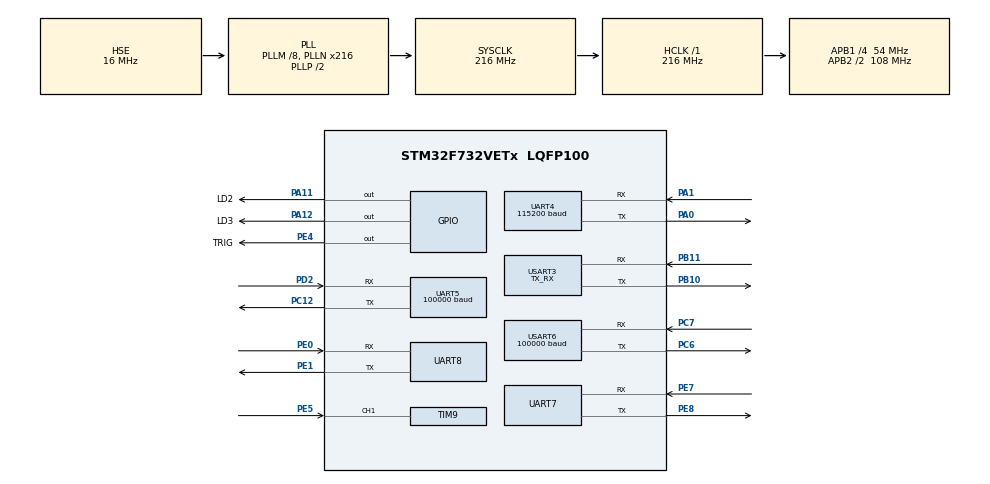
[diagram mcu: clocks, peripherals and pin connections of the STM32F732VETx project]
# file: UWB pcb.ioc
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Dma.Request0=USART6_RX
Dma.Request1=UART7_RX
Dma.Request2=UART8_RX
Dma.UART7_RX.1.Direction=DMA_PERIPH_TO_MEMORY
Dma.UART7_RX.1.FIFOMode=DMA_FIFOMODE_DISABLE
Dma.UART7_RX.1.Instance=DMA1_Stream3
Dma.UART7_RX.1.MemDataAlignment=DMA_MDATAALIGN_BYTE
Dma.UART7_RX.1.MemInc=DMA_MINC_ENABLE
Dma.UART7_RX.1.Mode=DMA_NORMAL
Dma.UART7_RX.1.PeriphDataAlignment=DMA_PDATAALIGN_BYTE
Dma.UART7_RX.1.PeriphInc=DMA_PINC_DISABLE
Dma.UART7_RX.1.Priority=DMA_PRIORITY_VERY_HIGH
Dma.UART8_RX.2.Direction=DMA_PERIPH_TO_MEMORY
Dma.UART8_RX.2.FIFOMode=DMA_FIFOMODE_DISABLE
Dma.UART8_RX.2.Instance=DMA1_Stream6
Dma.UART8_RX.2.MemDataAlignment=DMA_MDATAALIGN_BYTE
Dma.UART8_RX.2.MemInc=DMA_MINC_ENABLE
Dma.UART8_RX.2.Mode=DMA_NORMAL
Dma.UART8_RX.2.PeriphDataAlignment=DMA_PDATAALIGN_BYTE
Dma.UART8_RX.2.PeriphInc=DMA_PINC_DISABLE
Dma.UART8_RX.2.Priority=DMA_PRIORITY_VERY_HIGH
Dma.USART6_RX.0.Direction=DMA_PERIPH_TO_MEMORY
Dma.USART6_RX.0.FIFOMode=DMA_FIFOMODE_DISABLE
Dma.USART6_RX.0.Instance=DMA2_Stream1
Dma.USART6_RX.0.MemDataAlignment=DMA_MDATAALIGN_BYTE
Dma.USART6_RX.0.MemInc=DMA_MINC_ENABLE
Dma.USART6_RX.0.Mode=DMA_NORMAL
Dma.USART6_RX.0.PeriphDataAlignment=DMA_PDATAALIGN_BYTE
Dma.USART6_RX.0.PeriphInc=DMA_PINC_DISABLE
Dma.USART6_RX.0.Priority=DMA_PRIORITY_HIGH
Mcu.Family=STM32F7
Mcu.Name=STM32F732VETx
Mcu.Package=LQFP100
NVIC.DMA1_Stream3_IRQn=true\:0\:0\:false\:false\:true\:false\:true
NVIC.DMA1_Stream6_IRQn=true\:0\:0\:false\:false\:true\:false\:true
NVIC.DMA2_Stream1_IRQn=true\:0\:0\:false\:false\:true\:false\:true
NVIC.PriorityGroup=NVIC_PRIORITYGROUP_4
NVIC.TIM1_BRK_TIM9_IRQn=true\:0\:0\:false\:false\:true\:true\:true
NVIC.TIM3_IRQn=true\:0\:0\:false\:false\:true\:true\:true
NVIC.TIM4_IRQn=true\:0\:0\:false\:false\:true\:true\:true
NVIC.TIM5_IRQn=true\:0\:0\:false\:false\:true\:true\:true
NVIC.UART5_IRQn=true\:0\:0\:false\:false\:true\:true\:true
NVIC.UART7_IRQn=true\:0\:0\:false\:false\:true\:true\:true
NVIC.UART8_IRQn=true\:0\:0\:false\:false\:true\:true\:true
NVIC.USART6_IRQn=true\:0\:0\:false\:false\:true\:true\:true
PA0-WKUP.Mode=Asynchronous
PA0-WKUP.Signal=UART4_TX
PA1.Mode=Asynchronous
PA1.Signal=UART4_RX
PA11.GPIO_Label=LD2
PA11.Signal=GPIO_Output
PA12.GPIO_Label=LD3
PA12.Signal=GPIO_Output
PA13.Mode=Trace_Asynchronous_SW
PA13.Signal=SYS_JTMS-SWDIO
PA14.Mode=Trace_Asynchronous_SW
PA14.Signal=SYS_JTCK-SWCLK
PB10.Mode=Asynchronous
PB10.Signal=USART3_TX
PB11.Mode=Asynchronous
PB11.Signal=USART3_RX
PB3.Mode=Trace_Asynchronous_SW
PB3.Signal=SYS_JTDO-SWO
PC12.Mode=Asynchronous
PC12.Signal=UART5_TX
PC6.Mode=Asynchronous
PC6.Signal=USART6_TX
PC7.Mode=Asynchronous
PC7.Signal=USART6_RX
PD2.Mode=Asynchronous
PD2.Signal=UART5_RX
PE0.Mode=Asynchronous
PE0.Signal=UART8_RX
PE1.Mode=Asynchronous
PE1.Signal=UART8_TX
PE4.GPIO_Label=TRIG
PE4.Signal=GPIO_Output
PE5.Signal=S_TIM9_CH1
PE7.Mode=Asynchronous
PE7.Signal=UART7_RX
PE8.Mode=Asynchronous
PE8.Signal=UART7_TX
PH0-OSC_IN.Mode=HSE-External-Oscillator
PH0-OSC_IN.Signal=RCC_OSC_IN
PH1-OSC_OUT.Mode=HSE-External-Oscillator
PH1-OSC_OUT.Signal=RCC_OSC_OUT
ProjectManager.HeapSize=0x200
ProjectManager.StackSize=0x400
ProjectManager.TargetToolchain=STM32CubeIDE
RCC.AHBFreq_Value=216000000
RCC.APB1CLKDivider=RCC_HCLK_DIV4
RCC.APB1Freq_Value=54000000
RCC.APB1TimFreq_Value=108000000
RCC.APB2CLKDivider=RCC_HCLK_DIV2
RCC.APB2Freq_Value=108000000
RCC.APB2TimFreq_Value=216000000
RCC.CortexFreq_Value=216000000
RCC.HCLKFreq_Value=216000000
RCC.HSE_VALUE=16000000
RCC.HSI_VALUE=16000000
RCC.LSE_VALUE=32768
RCC.PLLM=8
RCC.PLLN=216
RCC.PLLSourceVirtual=RCC_PLLSOURCE_HSE
RCC.SYSCLKFreq_VALUE=216000000
RCC.SYSCLKSource=RCC_SYSCLKSOURCE_PLLCLK
RCC.USBFreq_Value=216000000
RCC.VCOOutputFreq_Value=432000000
SH.S_TIM9_CH1.0=TIM9_CH1,Input_Capture1_from_TI1
TIM3.ClockDivision=TIM_CLOCKDIVISION_DIV2
TIM3.Period=2000-1
TIM3.Prescaler=54000-1
TIM3.TIM_MasterOutputTrigger=TIM_TRGO_UPDATE
TIM4.ClockDivision=TIM_CLOCKDIVISION_DIV2
TIM4.Period=18-1
TIM4.Prescaler=54000-1
TIM4.TIM_MasterOutputTrigger=TIM_TRGO_UPDATE
TIM5.ClockDivision=TIM_CLOCKDIVISION_DIV2
TIM5.Period=200-1
TIM5.Prescaler=54000-1
TIM5.TIM_MasterOutputTrigger=TIM_TRGO_UPDATE
TIM8.Period=0
TIM8.Prescaler=216-1
TIM9.Channel-Input_Capture1_from_TI1=TIM_CHANNEL_1
TIM9.ICFilter_CH1=4
TIM9.ICPolarity_CH1=TIM_INPUTCHANNELPOLARITY_BOTHEDGE
TIM9.Period=0xFFFF-1
TIM9.Prescaler=216-1
UART4.BaudRate=115200
UART5.BaudRate=100000
UART5.Parity=PARITY_EVEN
UART5.StopBits=UART_STOPBITS_2
UART5.WordLength=WORDLENGTH_9B
USART3.Mode=MODE_TX_RX
USART3.VirtualMode-Asynchronous=VM_ASYNC
USART6.BaudRate=100000
USART6.Parity=PARITY_EVEN
USART6.RxPinLevelInvertParam=ADVFEATURE_RXINV_ENABLE
USART6.StopBits=STOPBITS_2
USART6.VirtualMode=VM_ASYNC
USART6.WordLength=WORDLENGTH_9B
VP_TIM3_VS_ClockSourceINT.Mode=Internal
VP_TIM4_VS_ClockSourceINT.Mode=Internal
VP_TIM5_VS_ClockSourceINT.Mode=Internal
VP_TIM8_VS_ClockSourceINT.Mode=Internal
board=custom

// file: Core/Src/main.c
/* USER CODE BEGIN Header */
/**
  ******************************************************************************
  * @file           : main.c
  * @brief          : Main program body
  ******************************************************************************
  * @attention
  *
  * <h2><center>&copy; Copyright (c) 2021 STMicroelectronics.
  * All rights reserved.</center></h2>
  *
  * This software component is licensed by ST under BSD 3-Clause license,
  * the "License"; You may not use this file except in compliance with the
  * License. You may obtain a copy of the License at:
  *                        opensource.org/licenses/BSD-3-Clause
  *
  ******************************************************************************
  */
/* USER CODE END Header */
#include "main.h"

/* USER CODE BEGIN Includes */
#include <stdio.h>
#include <string.h>
#include <math.h>
#include <stdlib.h>
/* USER CODE END Includes */

/* USER CODE BEGIN PTD */
#define usTIM TIM8
/* USER CODE END PTD */

/* USER CODE BEGIN PD */
#define MAX_ANCHORS 4
#define SBUS_TX_LENGTH 25
#define SBUS_RX_LENGTH2 25*2
#define SBUS_RX_LENGTH 25
#define SBUS_START 0x0f
#define SBUS_END 0x00
#define SBUS_CHANNELS 16
#define SBUS_CHANNEL_MIN 173
#define SBUS_CHANNEL_MAX 1812
#define PID_MAX 500
#define PID_MIN -500
#define RC_MAX 2000
#define RC_MIN 1000
#define UWB_UART_LENGTH 12
#define UWB_PACKET_BUFFER_SIZE 20
#define UWB_MAX_PACKET_LOSS 50
#define LOG_LENGTH 200
#define SPI_RX_DATA_SIZE 90
#define SPI_RX_BUF_SIZE 90
#define SPI_TX_BUF_SIZE 90
#define ULTRASONIC_TIMEOUT_MS 20
#define ULTRASONIC_MIN_DISTANCE_CM 5
#define ULTRASONIC_MAX_DISTANCE_CM 500
//#define ULTRASONIC_FILTER_SIZE 5
#define MAX_FILTER_SIZE 10
#define UWB_FILTER_SIZE 2
//#define TRIG_ANGLE_FILTER_SIZE 5
//#define TRIG_DISTANCE_FILTER_SIZE 2
#define UWB_RX_TO_RX_DISTANCE_CM 29.5
#define pi 3.14159
#define conv_to_deg 180/pi
#define PID_period 0.1 //seconds
//ALTITUDE SETTINGS
#define SETPOINT_ALTITUDE 100 //cm
#define DEADZONE_ALTITUDE 10;
//#define P_altitude 0.1
#define USONIC_FILTER_SIZE 2
#define P_altitude 1
#define I_altitude 0.05
#define D_altitude 0.05
#define PID_MIN_ALT -200
#define PID_MAX_ALT 200
#define PID_MIN_ALT_I -50
#define PID_MAX_ALT_I 50
//ANGLE SETTINGS
#define SETPOINT_ANGLE 0 //degrees
#define DEADZONE_ANGLE 20
#define TRIG_ANGLE_FILTER_SIZE 10
#define P_angle 3
#define I_angle 0.25
#define D_angle 0.3
//DISTANCE SETTINGS
#define SETPOINT_DISTANCE 400 //cm
#define TRIG_DISTANCE_FILTER_SIZE 2
#define P_distance 2
#define I_distance 0.025
#define D_distance 0.03
#define D_FILTER_TIME_CONSTANT 0.0106
//DISPLAY SETTINGS
#define DISPLAY_RX_LENGTH 7
#define DISPLAY_TX_LENGTH 13
#define DISPLAY_START_PERIODIC 0x5a
#define DISPLAY_START_ANGLE_PID 0x5b
#define DISPLAY_START_DISTANCE_PID 0x5c
#define DISPLAY_START_ALTITUDE_PID 0x5d
#define DISPLAY_START_FLIGHT_SETTINGS 0x5e
#define MICROSD_BUFFER_SIZE 1000
#define PIDSUM_MAX 500
#define PIDSUM_MIN -500
#define MAX_DROPPED_SBUS_PACKETS 4
#define U_TURN_DURATION 10//x100ms
/* USER CODE END PD */

TIM_HandleTypeDef htim3;
TIM_HandleTypeDef htim4;
TIM_HandleTypeDef htim5;
TIM_HandleTypeDef htim8;
TIM_HandleTypeDef htim9;

UART_HandleTypeDef huart4;
UART_HandleTypeDef huart5;
UART_HandleTypeDef huart7;
UART_HandleTypeDef huart8;
UART_HandleTypeDef huart3;
UART_HandleTypeDef huart6;
DMA_HandleTypeDef hdma_uart7_rx;
DMA_HandleTypeDef hdma_uart8_rx;
DMA_HandleTypeDef hdma_usart6_rx;

/* USER CODE BEGIN PV */
uint8_t begin_tracking = 0;
float last_state_rcin6 = 1000;
char microsd_buf[MICROSD_BUFFER_SIZE];
uint16_t microsd_buf_size = 0;
//Timers
uint32_t time_10hz = 0;
uint32_t last_time_10hz = 0;
uint32_t delay = 0;
volatile uint8_t tmr_flag_1s = 0;
volatile uint8_t tmr_flag_9ms = 0;
volatile uint8_t tmr_flag_100ms = 0;
uint8_t arm_flag = 0;
uint8_t uart_error = 0;
uint8_t rxUART7[UWB_UART_LENGTH] = {0};//UWB1 buferis
uint8_t rxUART8[UWB_UART_LENGTH] = {0};//UWB2 buferis
uint8_t rxUART6[SBUS_RX_LENGTH2] = {0};//uart buferis
uint8_t txUART5[SBUS_TX_LENGTH] = {0};
uint8_t txUART7[LOG_LENGTH] = {0};
uint8_t rxUART4[DISPLAY_RX_LENGTH] = {0};
uint8_t txUART4[DISPLAY_TX_LENGTH] = {0};
uint8_t display_flag = 0;
//SBUS variables
uint8_t sbus_receive_length = SBUS_RX_LENGTH2;
uint8_t sbus_frame_start = 0;
uint8_t rc_bad_frame = 0;
uint8_t rc_packets = 0;
uint8_t rc_no_pulses = 0;
uint16_t rc_in_raw[SBUS_CHANNELS] = {0};
uint16_t rc_out_raw[SBUS_CHANNELS] = {0};
float rc_in[SBUS_CHANNELS] = {0};
float rc_out[SBUS_CHANNELS] = {0};
uint8_t rc_frame_lost = 0;
uint8_t rc_failsafe = 0;
//UWB variables
uint8_t uwb1_uart_received = 0;
uint8_t uwb2_uart_received = 0;
struct loc
{
	uint32_t node_pos_x;
	uint32_t node_pos_y;
	uint32_t node_pos_z;
	uint32_t node_pos_qf;//quality factor
	uint8_t distances_amount;//how many distances are being sent
	//From here data should be arrays, if more than one anchor is used
	uint16_t anchor_uwb_address[MAX_ANCHORS];
	uint32_t distance_to_anchor[MAX_ANCHORS];
	float distance_to_anchor_cm[MAX_ANCHORS];
	uint8_t distance_to_anchor_qf[MAX_ANCHORS];//quality factor
	uint32_t anchor_pos_x[MAX_ANCHORS];
	uint32_t anchor_pos_y[MAX_ANCHORS];
	uint32_t anchor_pos_z[MAX_ANCHORS];
	uint32_t anchor_pos_qf[MAX_ANCHORS];//quality factor
	uint32_t last_distance_to_anchor[MAX_ANCHORS];
	uint8_t uwb_ok[MAX_ANCHORS];
	uint16_t packet_sum[MAX_ANCHORS];
	uint16_t packet_loss[MAX_ANCHORS];
};
struct loc dwm_loc_get1;
struct loc dwm_loc_get2;
//Ultrasonic variables
uint8_t IC_flag = 0;
uint8_t IC_index = 0;
uint32_t IC_time1 = 0;
uint32_t IC_time2 = 0;
const float speed_of_sound = 0.0343/2;
float ultrasonic_distance_cm = 0;
uint32_t usonic_distance_cm_uint32 = 0;
struct f_float
{
	float value;
	float moving_sum;
	uint8_t window_index;
	float buf[MAX_FILTER_SIZE];
	uint8_t buf_size;
	uint8_t filter_size;
};
struct f_float f_uwb1_cm;
struct f_float f_uwb2_cm;
struct f_float f_usonic_cm;
struct f_float f_trig_angle_deg;
struct f_float f_trig_distance_cm;
float last_dist_error = 0;//naudojama detektuoti, kada skrenda ne i ta puse
uint8_t wrong_side = 0;
uint8_t good_side = 0;
uint8_t u_turn = 0;
uint8_t u_turn_duration = 0;
//Bilateration variables
float bilat_x_est_cm = 0;
float bilat_y_est_cm = 0;
float bilat_rho_est_cm = 0;
float bilat_theta_est_deg = 0;
//Trigonometrinio variables
float trig_rho_est_cm = 0;
float trig_theta_est_deg = 0;
//struct pid
//{
//	float error;
//	float last_error;
//	float integral;
//	float derivative;
//	float pidsum;
//	float Kp;
//	float Ki;
//	float Kd;
//	float psum;
//	float isum;
//	float dsum;
//	float deadzone;
//};
//struct pid pid_altitude;
//struct pid pid_distance;
//struct pid pid_angle;
struct pid
{
	float plusminus;
	float Kp;
	float Ki;
	float Kd;
	float tau;//D low pass filtro laiko konstanta
	float lim_min;
	float lim_max;
	float lim_min_int;
	float lim_max_int;
	float T;
	float psum;
	float isum;
	float dsum;
	float error;
	float last_error;
	float last_meas;
	float pidsum;
};
struct pid pid_altitude;
struct pid pid_distance;
struct pid pid_angle;
float test_altitude = 101;//cm
float test_distance = 3049;//mm
float test_angle = 91;//degrees
float setpoint_altitude = SETPOINT_ALTITUDE;//cm
float setpoint_distance = SETPOINT_DISTANCE;//cm
float setpoint_angle = SETPOINT_ANGLE;//degrees
uint8_t object_tracking = 0;
float tracking_thr = 1000;
float control_thr = 0;//1000:2000
float control_pitch = 0;//1000:2000
float control_yaw = 0;//1000:2000
uint8_t target_locked = 0;// =1 when angle is within deadzone
/* USER CODE END PV */

void SystemClock_Config(void);
static void MX_GPIO_Init(void);
static void MX_DMA_Init(void);
static void MX_UART4_Init(void);
static void MX_TIM3_Init(void);
static void MX_TIM4_Init(void);
static void MX_TIM5_Init(void);
static void MX_TIM8_Init(void);
static void MX_TIM9_Init(void);
static void MX_UART5_Init(void);
static void MX_USART6_UART_Init(void);
static void MX_UART7_Init(void);
static void MX_UART8_Init(void);
static void MX_USART3_UART_Init(void);
/* USER CODE BEGIN PFP */
void usDelay(uint32_t uSec);
void measure_ultrasonic();
void read_sbus();
void write_sbus();
void sbus_passthrough();
void init_variables();
void moving_average_update_float(float input, struct f_float *s);
void update_trig(float B, float A);
void init_log_microsd();
void update_log_microsd();
void write_periodic_LCD();
float constrain_f(float input, float min, float max);
//void calculate_PID(float measured, float setpoint, struct pid *s);
void parse_uwb_uart(struct loc *loc, uint8_t bfr[]);
void init_PID(struct pid *s);
void calculate_PID(float measurement, float setpoint, struct pid *s);
/* USER CODE END PFP */

/* USER CODE BEGIN 0 */
void detect_wrong_side()
{
	if(abs(pid_distance.error)>last_dist_error)
	{
	  wrong_side++;
	}
	else
	{
	  good_side++;
	}
	if(good_side > 5)
	{
	  wrong_side=0;
	  good_side=0;
	}
	if(wrong_side > 20)
	{
		//make a U turn
		u_turn = 1;
	}
	last_dist_error=abs(pid_distance.error);
}
/* USER CODE END 0 */

int main(void)
{

  /* MCU Configuration--------------------------------------------------------*/

  /* Reset of all peripherals, Initializes the Flash interface and the Systick. */
  HAL_Init();

  /* Configure the system clock */
  SystemClock_Config();

  /* Initialize all configured peripherals */
  MX_GPIO_Init();
  MX_DMA_Init();
  MX_UART4_Init();
  MX_TIM3_Init();
  MX_TIM4_Init();
  MX_TIM5_Init();
  MX_TIM8_Init();
  MX_TIM9_Init();
  MX_UART5_Init();
  MX_USART6_UART_Init();
  MX_UART7_Init();
  MX_UART8_Init();
  MX_USART3_UART_Init();
  /* USER CODE BEGIN 2 */
	HAL_TIM_Base_Start_IT(&htim3);//periodas 1s
	HAL_TIM_Base_Start_IT(&htim4);//periodas 9ms
	HAL_TIM_Base_Start_IT(&htim5);//periodas 100ms
	sbus_receive_length = SBUS_RX_LENGTH;
//	HAL_UART_Receive_DMA(&huart4, (uint8_t *)rxUART4, DISPLAY_RX_LENGTH);
	init_variables();
	init_log_microsd();
	HAL_Delay(1000);
	//	HAL_UART_Receive_DMA(&huart4, (uint8_t *)rxUART4, DISPLAY_RX_LENGTH);
	HAL_UART_Receive_DMA(&huart6, (uint8_t *)rxUART6, sbus_receive_length);//Receiver
	HAL_UART_Receive_DMA(&huart7, (uint8_t *)rxUART7, UWB_UART_LENGTH);//UWB1
	HAL_UART_Receive_DMA(&huart8, (uint8_t *)rxUART8, UWB_UART_LENGTH);//UWB2
  /* USER CODE END 2 */

  /* Infinite loop */
  /* USER CODE BEGIN WHILE */
  while (1)
  {
	  if(uwb1_uart_received == 1 && uwb2_uart_received == 1)
	  {
		  uwb1_uart_received = 0;
		  uwb2_uart_received = 0;
		  HAL_GPIO_TogglePin(GPIOA, LD3_Pin);
		  parse_uwb_uart(&dwm_loc_get1,rxUART7);
		  parse_uwb_uart(&dwm_loc_get2,rxUART8);
		  //test = tmr_flag_100ms;
		  tmr_flag_100ms = 0;
		  measure_ultrasonic();
		  moving_average_update_float(ultrasonic_distance_cm, &f_usonic_cm);
		  if(dwm_loc_get1.packet_loss[0]<=UWB_MAX_PACKET_LOSS && dwm_loc_get2.packet_loss[0]<=UWB_MAX_PACKET_LOSS)
		  {
			  moving_average_update_float(dwm_loc_get1.distance_to_anchor_cm[0], &f_uwb1_cm);
			  moving_average_update_float(dwm_loc_get2.distance_to_anchor_cm[0], &f_uwb2_cm);
			  if (f_uwb1_cm.buf_size >= UWB_FILTER_SIZE && dwm_loc_get1.distance_to_anchor_cm[0] > 0 && dwm_loc_get2.distance_to_anchor_cm[0] > 0)
			  {
				  update_trig(f_uwb1_cm.value, f_uwb2_cm.value);
				  moving_average_update_float(trig_theta_est_deg, &f_trig_angle_deg);
				  moving_average_update_float(trig_rho_est_cm, &f_trig_distance_cm);
				  if (f_trig_angle_deg.buf_size >= TRIG_ANGLE_FILTER_SIZE)
				  {
					  if(rc_in[6] > 1900 && rc_no_pulses < MAX_DROPPED_SBUS_PACKETS && rc_bad_frame == 0 && rc_failsafe == 0)
					  {
						  if(object_tracking==0 && begin_tracking==1)//sekimo ijungimo momentas. Reikia, kad nepagautu kada failsafe ir paskui vel pasileidzia
						  {
							  tracking_thr = rc_in[0];
							  init_PID(&pid_distance);
							  init_PID(&pid_angle);
							  init_PID(&pid_altitude);
						  }
						  object_tracking = 1;
						  calculate_PID(f_trig_distance_cm.value, setpoint_distance, &pid_distance);
						  calculate_PID(f_trig_angle_deg.value, setpoint_angle, &pid_angle);
						  calculate_PID(f_usonic_cm.value, setpoint_altitude, &pid_altitude);
						  if(abs(pid_angle.error) < DEADZONE_ANGLE)
						  {
							  target_locked = 1;
							  //detect_wrong_side();
						  }
						  else
						  {
							  target_locked = 0;
						  }
//						  if(u_turn==1 && u_turn_duration < U_TURN_DURATION)
//						  {
//							  control_yaw = RC_MAX;//make a U turn
//							  u_turn_duration++;
//						  }
//						  else
//						  {
//							  u_turn=0;
//							  u_turn_duration=0;
//							  control_yaw = 1500 + pid_angle.pidsum;
//						  }
						  control_yaw = 1500 + pid_angle.plusminus*pid_angle.pidsum;
						  control_pitch = 1500 + pid_distance.plusminus*pid_distance.pidsum;
						  control_thr = tracking_thr + pid_altitude.plusminus*pid_altitude.pidsum;
						  update_log_microsd();
						  HAL_GPIO_TogglePin(GPIOA, LD2_Pin);
					  }
					  else
					  {
						  object_tracking = 0;
						  begin_tracking=0;
						  target_locked = 0;
					  }
					  write_periodic_LCD();
					  HAL_UART_Transmit(&huart4, (uint8_t *)txUART4, DISPLAY_TX_LENGTH, 10);
					  delay = time_10hz - last_time_10hz;
					  last_time_10hz = time_10hz;
				  }
			  }
		  }
	  }
    /* USER CODE END WHILE */

  }
}

void SystemClock_Config(void)
{
  RCC_OscInitTypeDef RCC_OscInitStruct = {0};
  RCC_ClkInitTypeDef RCC_ClkInitStruct = {0};
  RCC_PeriphCLKInitTypeDef PeriphClkInitStruct = {0};

  /** Configure the main internal regulator output voltage
  */
  __HAL_RCC_PWR_CLK_ENABLE();
  __HAL_PWR_VOLTAGESCALING_CONFIG(PWR_REGULATOR_VOLTAGE_SCALE1);
  /** Initializes the RCC Oscillators according to the specified parameters
  * in the RCC_OscInitTypeDef structure.
  */
  RCC_OscInitStruct.OscillatorType = RCC_OSCILLATORTYPE_HSE;
  RCC_OscInitStruct.HSEState = RCC_HSE_ON;
  RCC_OscInitStruct.PLL.PLLState = RCC_PLL_ON;
  RCC_OscInitStruct.PLL.PLLSource = RCC_PLLSOURCE_HSE;
  RCC_OscInitStruct.PLL.PLLM = 8;
  RCC_OscInitStruct.PLL.PLLN = 216;
  RCC_OscInitStruct.PLL.PLLP = RCC_PLLP_DIV2;
  RCC_OscInitStruct.PLL.PLLQ = 2;
  if (HAL_RCC_OscConfig(&RCC_OscInitStruct) != HAL_OK)
  {
    Error_Handler();
  }
  /** Activate the Over-Drive mode
  */
  if (HAL_PWREx_EnableOverDrive() != HAL_OK)
  {
    Error_Handler();
  }
  /** Initializes the CPU, AHB and APB buses clocks
  */
  RCC_ClkInitStruct.ClockType = RCC_CLOCKTYPE_HCLK|RCC_CLOCKTYPE_SYSCLK
                              |RCC_CLOCKTYPE_PCLK1|RCC_CLOCKTYPE_PCLK2;
  RCC_ClkInitStruct.SYSCLKSource = RCC_SYSCLKSOURCE_PLLCLK;
  RCC_ClkInitStruct.AHBCLKDivider = RCC_SYSCLK_DIV1;
  RCC_ClkInitStruct.APB1CLKDivider = RCC_HCLK_DIV4;
  RCC_ClkInitStruct.APB2CLKDivider = RCC_HCLK_DIV2;

  if (HAL_RCC_ClockConfig(&RCC_ClkInitStruct, FLASH_LATENCY_7) != HAL_OK)
  {
    Error_Handler();
  }
  PeriphClkInitStruct.PeriphClockSelection = RCC_PERIPHCLK_USART3|RCC_PERIPHCLK_USART6
                              |RCC_PERIPHCLK_UART4|RCC_PERIPHCLK_UART5
                              |RCC_PERIPHCLK_UART7|RCC_PERIPHCLK_UART8;
  PeriphClkInitStruct.Usart3ClockSelection = RCC_USART3CLKSOURCE_PCLK1;
  PeriphClkInitStruct.Uart4ClockSelection = RCC_UART4CLKSOURCE_PCLK1;
  PeriphClkInitStruct.Uart5ClockSelection = RCC_UART5CLKSOURCE_PCLK1;
  PeriphClkInitStruct.Usart6ClockSelection = RCC_USART6CLKSOURCE_PCLK2;
  PeriphClkInitStruct.Uart7ClockSelection = RCC_UART7CLKSOURCE_PCLK1;
  PeriphClkInitStruct.Uart8ClockSelection = RCC_UART8CLKSOURCE_PCLK1;
  if (HAL_RCCEx_PeriphCLKConfig(&PeriphClkInitStruct) != HAL_OK)
  {
    Error_Handler();
  }
}

static void MX_TIM3_Init(void)
{

  TIM_ClockConfigTypeDef sClockSourceConfig = {0};
  TIM_MasterConfigTypeDef sMasterConfig = {0};

  htim3.Instance = TIM3;
  htim3.Init.Prescaler = 54000-1;
  htim3.Init.CounterMode = TIM_COUNTERMODE_UP;
  htim3.Init.Period = 2000-1;
  htim3.Init.ClockDivision = TIM_CLOCKDIVISION_DIV2;
  htim3.Init.AutoReloadPreload = TIM_AUTORELOAD_PRELOAD_DISABLE;
  if (HAL_TIM_Base_Init(&htim3) != HAL_OK)
  {
    Error_Handler();
  }
  sClockSourceConfig.ClockSource = TIM_CLOCKSOURCE_INTERNAL;
  if (HAL_TIM_ConfigClockSource(&htim3, &sClockSourceConfig) != HAL_OK)
  {
    Error_Handler();
  }
  sMasterConfig.MasterOutputTrigger = TIM_TRGO_UPDATE;
  sMasterConfig.MasterSlaveMode = TIM_MASTERSLAVEMODE_DISABLE;
  if (HAL_TIMEx_MasterConfigSynchronization(&htim3, &sMasterConfig) != HAL_OK)
  {
    Error_Handler();
  }

}

static void MX_TIM4_Init(void)
{

  TIM_ClockConfigTypeDef sClockSourceConfig = {0};
  TIM_MasterConfigTypeDef sMasterConfig = {0};

  htim4.Instance = TIM4;
  htim4.Init.Prescaler = 54000-1;
  htim4.Init.CounterMode = TIM_COUNTERMODE_UP;
  htim4.Init.Period = 18-1;
  htim4.Init.ClockDivision = TIM_CLOCKDIVISION_DIV2;
  htim4.Init.AutoReloadPreload = TIM_AUTORELOAD_PRELOAD_DISABLE;
  if (HAL_TIM_Base_Init(&htim4) != HAL_OK)
  {
    Error_Handler();
  }
  sClockSourceConfig.ClockSource = TIM_CLOCKSOURCE_INTERNAL;
  if (HAL_TIM_ConfigClockSource(&htim4, &sClockSourceConfig) != HAL_OK)
  {
    Error_Handler();
  }
  sMasterConfig.MasterOutputTrigger = TIM_TRGO_UPDATE;
  sMasterConfig.MasterSlaveMode = TIM_MASTERSLAVEMODE_DISABLE;
  if (HAL_TIMEx_MasterConfigSynchronization(&htim4, &sMasterConfig) != HAL_OK)
  {
    Error_Handler();
  }

}

static void MX_TIM5_Init(void)
{

  TIM_ClockConfigTypeDef sClockSourceConfig = {0};
  TIM_MasterConfigTypeDef sMasterConfig = {0};

  htim5.Instance = TIM5;
  htim5.Init.Prescaler = 54000-1;
  htim5.Init.CounterMode = TIM_COUNTERMODE_UP;
  htim5.Init.Period = 200-1;
  htim5.Init.ClockDivision = TIM_CLOCKDIVISION_DIV2;
  htim5.Init.AutoReloadPreload = TIM_AUTORELOAD_PRELOAD_DISABLE;
  if (HAL_TIM_Base_Init(&htim5) != HAL_OK)
  {
    Error_Handler();
  }
  sClockSourceConfig.ClockSource = TIM_CLOCKSOURCE_INTERNAL;
  if (HAL_TIM_ConfigClockSource(&htim5, &sClockSourceConfig) != HAL_OK)
  {
    Error_Handler();
  }
  sMasterConfig.MasterOutputTrigger = TIM_TRGO_UPDATE;
  sMasterConfig.MasterSlaveMode = TIM_MASTERSLAVEMODE_DISABLE;
  if (HAL_TIMEx_MasterConfigSynchronization(&htim5, &sMasterConfig) != HAL_OK)
  {
    Error_Handler();
  }

}

static void MX_TIM8_Init(void)
{

  TIM_ClockConfigTypeDef sClockSourceConfig = {0};
  TIM_MasterConfigTypeDef sMasterConfig = {0};

  htim8.Instance = TIM8;
  htim8.Init.Prescaler = 216-1;
  htim8.Init.CounterMode = TIM_COUNTERMODE_UP;
  htim8.Init.Period = 0;
  htim8.Init.ClockDivision = TIM_CLOCKDIVISION_DIV1;
  htim8.Init.RepetitionCounter = 0;
  htim8.Init.AutoReloadPreload = TIM_AUTORELOAD_PRELOAD_DISABLE;
  if (HAL_TIM_Base_Init(&htim8) != HAL_OK)
  {
    Error_Handler();
  }
  sClockSourceConfig.ClockSource = TIM_CLOCKSOURCE_INTERNAL;
  if (HAL_TIM_ConfigClockSource(&htim8, &sClockSourceConfig) != HAL_OK)
  {
    Error_Handler();
  }
  sMasterConfig.MasterOutputTrigger = TIM_TRGO_RESET;
  sMasterConfig.MasterOutputTrigger2 = TIM_TRGO2_RESET;
  sMasterConfig.MasterSlaveMode = TIM_MASTERSLAVEMODE_DISABLE;
  if (HAL_TIMEx_MasterConfigSynchronization(&htim8, &sMasterConfig) != HAL_OK)
  {
    Error_Handler();
  }

}

static void MX_TIM9_Init(void)
{

  TIM_IC_InitTypeDef sConfigIC = {0};

  htim9.Instance = TIM9;
  htim9.Init.Prescaler = 216-1;
  htim9.Init.CounterMode = TIM_COUNTERMODE_UP;
  htim9.Init.Period = 0xFFFF-1;
  htim9.Init.ClockDivision = TIM_CLOCKDIVISION_DIV1;
  htim9.Init.AutoReloadPreload = TIM_AUTORELOAD_PRELOAD_DISABLE;
  if (HAL_TIM_IC_Init(&htim9) != HAL_OK)
  {
    Error_Handler();
  }
  sConfigIC.ICPolarity = TIM_INPUTCHANNELPOLARITY_BOTHEDGE;
  sConfigIC.ICSelection = TIM_ICSELECTION_DIRECTTI;
  sConfigIC.ICPrescaler = TIM_ICPSC_DIV1;
  sConfigIC.ICFilter = 4;
  if (HAL_TIM_IC_ConfigChannel(&htim9, &sConfigIC, TIM_CHANNEL_1) != HAL_OK)
  {
    Error_Handler();
  }

}

static void MX_UART4_Init(void)
{

  huart4.Instance = UART4;
  huart4.Init.BaudRate = 115200;
  huart4.Init.WordLength = UART_WORDLENGTH_8B;
  huart4.Init.StopBits = UART_STOPBITS_1;
  huart4.Init.Parity = UART_PARITY_NONE;
  huart4.Init.Mode = UART_MODE_TX_RX;
  huart4.Init.HwFlowCtl = UART_HWCONTROL_NONE;
  huart4.Init.OverSampling = UART_OVERSAMPLING_16;
  huart4.Init.OneBitSampling = UART_ONE_BIT_SAMPLE_DISABLE;
  huart4.AdvancedInit.AdvFeatureInit = UART_ADVFEATURE_NO_INIT;
  if (HAL_UART_Init(&huart4) != HAL_OK)
  {
    Error_Handler();
  }

}

static void MX_UART5_Init(void)
{

  huart5.Instance = UART5;
  huart5.Init.BaudRate = 100000;
  huart5.Init.WordLength = UART_WORDLENGTH_9B;
  huart5.Init.StopBits = UART_STOPBITS_2;
  huart5.Init.Parity = UART_PARITY_EVEN;
  huart5.Init.Mode = UART_MODE_TX_RX;
  huart5.Init.HwFlowCtl = UART_HWCONTROL_NONE;
  huart5.Init.OverSampling = UART_OVERSAMPLING_16;
  huart5.Init.OneBitSampling = UART_ONE_BIT_SAMPLE_DISABLE;
  huart5.AdvancedInit.AdvFeatureInit = UART_ADVFEATURE_NO_INIT;
  if (HAL_UART_Init(&huart5) != HAL_OK)
  {
    Error_Handler();
  }

}

static void MX_UART7_Init(void)
{

  huart7.Instance = UART7;
  huart7.Init.BaudRate = 115200;
  huart7.Init.WordLength = UART_WORDLENGTH_8B;
  huart7.Init.StopBits = UART_STOPBITS_1;
  huart7.Init.Parity = UART_PARITY_NONE;
  huart7.Init.Mode = UART_MODE_TX_RX;
  huart7.Init.HwFlowCtl = UART_HWCONTROL_NONE;
  huart7.Init.OverSampling = UART_OVERSAMPLING_16;
  huart7.Init.OneBitSampling = UART_ONE_BIT_SAMPLE_DISABLE;
  huart7.AdvancedInit.AdvFeatureInit = UART_ADVFEATURE_NO_INIT;
  if (HAL_UART_Init(&huart7) != HAL_OK)
  {
    Error_Handler();
  }

}

static void MX_UART8_Init(void)
{

  huart8.Instance = UART8;
  huart8.Init.BaudRate = 115200;
  huart8.Init.WordLength = UART_WORDLENGTH_8B;
  huart8.Init.StopBits = UART_STOPBITS_1;
  huart8.Init.Parity = UART_PARITY_NONE;
  huart8.Init.Mode = UART_MODE_TX_RX;
  huart8.Init.HwFlowCtl = UART_HWCONTROL_NONE;
  huart8.Init.OverSampling = UART_OVERSAMPLING_16;
  huart8.Init.OneBitSampling = UART_ONE_BIT_SAMPLE_DISABLE;
  huart8.AdvancedInit.AdvFeatureInit = UART_ADVFEATURE_NO_INIT;
  if (HAL_UART_Init(&huart8) != HAL_OK)
  {
    Error_Handler();
  }

}

static void MX_USART3_UART_Init(void)
{

  huart3.Instance = USART3;
  huart3.Init.BaudRate = 115200;
  huart3.Init.WordLength = UART_WORDLENGTH_8B;
  huart3.Init.StopBits = UART_STOPBITS_1;
  huart3.Init.Parity = UART_PARITY_NONE;
  huart3.Init.Mode = UART_MODE_TX_RX;
  huart3.Init.HwFlowCtl = UART_HWCONTROL_NONE;
  huart3.Init.OverSampling = UART_OVERSAMPLING_16;
  huart3.Init.OneBitSampling = UART_ONE_BIT_SAMPLE_DISABLE;
  huart3.AdvancedInit.AdvFeatureInit = UART_ADVFEATURE_NO_INIT;
  if (HAL_UART_Init(&huart3) != HAL_OK)
  {
    Error_Handler();
  }

}

static void MX_USART6_UART_Init(void)
{

  huart6.Instance = USART6;
  huart6.Init.BaudRate = 100000;
  huart6.Init.WordLength = UART_WORDLENGTH_9B;
  huart6.Init.StopBits = UART_STOPBITS_2;
  huart6.Init.Parity = UART_PARITY_EVEN;
  huart6.Init.Mode = UART_MODE_TX_RX;
  huart6.Init.HwFlowCtl = UART_HWCONTROL_NONE;
  huart6.Init.OverSampling = UART_OVERSAMPLING_16;
  huart6.Init.OneBitSampling = UART_ONE_BIT_SAMPLE_DISABLE;
  huart6.AdvancedInit.AdvFeatureInit = UART_ADVFEATURE_RXINVERT_INIT;
  huart6.AdvancedInit.RxPinLevelInvert = UART_ADVFEATURE_RXINV_ENABLE;
  if (HAL_UART_Init(&huart6) != HAL_OK)
  {
    Error_Handler();
  }

}

static void MX_DMA_Init(void)
{

  /* DMA controller clock enable */
  __HAL_RCC_DMA2_CLK_ENABLE();
  __HAL_RCC_DMA1_CLK_ENABLE();

  /* DMA interrupt init */
  /* DMA1_Stream3_IRQn interrupt configuration */
  HAL_NVIC_SetPriority(DMA1_Stream3_IRQn, 0, 0);
  HAL_NVIC_EnableIRQ(DMA1_Stream3_IRQn);
  /* DMA1_Stream6_IRQn interrupt configuration */
  HAL_NVIC_SetPriority(DMA1_Stream6_IRQn, 0, 0);
  HAL_NVIC_EnableIRQ(DMA1_Stream6_IRQn);
  /* DMA2_Stream1_IRQn interrupt configuration */
  HAL_NVIC_SetPriority(DMA2_Stream1_IRQn, 0, 0);
  HAL_NVIC_EnableIRQ(DMA2_Stream1_IRQn);

}

static void MX_GPIO_Init(void)
{
  GPIO_InitTypeDef GPIO_InitStruct = {0};

  /* GPIO Ports Clock Enable */
  __HAL_RCC_GPIOE_CLK_ENABLE();
  __HAL_RCC_GPIOH_CLK_ENABLE();
  __HAL_RCC_GPIOA_CLK_ENABLE();
  __HAL_RCC_GPIOB_CLK_ENABLE();
  __HAL_RCC_GPIOC_CLK_ENABLE();
  __HAL_RCC_GPIOD_CLK_ENABLE();

  /*Configure GPIO pin Output Level */
  HAL_GPIO_WritePin(TRIG_GPIO_Port, TRIG_Pin, GPIO_PIN_RESET);

  /*Configure GPIO pin Output Level */
  HAL_GPIO_WritePin(GPIOA, LD2_Pin|LD3_Pin, GPIO_PIN_RESET);

  /*Configure GPIO pin : TRIG_Pin */
  GPIO_InitStruct.Pin = TRIG_Pin;
  GPIO_InitStruct.Mode = GPIO_MODE_OUTPUT_PP;
  GPIO_InitStruct.Pull = GPIO_NOPULL;
  GPIO_InitStruct.Speed = GPIO_SPEED_FREQ_LOW;
  HAL_GPIO_Init(TRIG_GPIO_Port, &GPIO_InitStruct);

  /*Configure GPIO pins : LD2_Pin LD3_Pin */
  GPIO_InitStruct.Pin = LD2_Pin|LD3_Pin;
  GPIO_InitStruct.Mode = GPIO_MODE_OUTPUT_PP;
  GPIO_InitStruct.Pull = GPIO_NOPULL;
  GPIO_InitStruct.Speed = GPIO_SPEED_FREQ_LOW;
  HAL_GPIO_Init(GPIOA, &GPIO_InitStruct);

}

/* USER CODE BEGIN 4 */
void HAL_TIM_PeriodElapsedCallback(TIM_HandleTypeDef *htim)
{
  /* Prevent unused argument(s) compilation warning */
  UNUSED(htim);

  /* NOTE : This function should not be modified, when the callback is needed,
            the HAL_TIM_PeriodElapsedCallback could be implemented in the user file
   */
	if (htim->Instance == TIM3)
	{
		tmr_flag_1s++;
	}
	else if (htim->Instance == TIM4)
	{
		if (rc_packets > 0)
		{
			rc_packets = 0;
			rc_no_pulses = 0;
			if(rc_bad_frame==0 && rc_failsafe==0)
			{
				sbus_passthrough();
				write_sbus();
				HAL_UART_Transmit(&huart5, (uint8_t *)txUART5, SBUS_TX_LENGTH, 10);
			}
		}
		else
		{
			rc_no_pulses++;
		}
	}
	else if (htim->Instance == TIM5)
	{
		tmr_flag_100ms++;
		time_10hz++;
	}
}
void HAL_TIM_IC_CaptureCallback(TIM_HandleTypeDef *htim)
{
	if(IC_index == 0) //First edge
	{
		IC_time1 = HAL_TIM_ReadCapturedValue(htim, TIM_CHANNEL_1);
		IC_index = 1;
	}
	else if(IC_index == 1) //Second edge
	{
		IC_time2 = HAL_TIM_ReadCapturedValue(htim, TIM_CHANNEL_1);
		IC_index = 0;
		IC_flag = 1;
	}
}
void HAL_UART_RxCpltCallback(UART_HandleTypeDef *huart)
{
  /* Prevent unused argument(s) compilation warning */
  UNUSED(huart);

  /* NOTE : This function should not be modified, when the callback is needed,
            the HAL_UART_RxCpltCallback can be implemented in the user file.
   */
  if (huart->Instance == USART6)
  {
	  rc_packets++;
	  read_sbus();
	  HAL_UART_Receive_DMA(&huart6, (uint8_t *)rxUART6, sbus_receive_length);
  }
  else if (huart->Instance == UART7)
  {
	  uwb1_uart_received = 1;
	  HAL_UART_Receive_DMA(&huart7, (uint8_t *)rxUART7, UWB_UART_LENGTH);
  }
  else if (huart->Instance == UART8)
  {
	  uwb2_uart_received = 1;
	  HAL_UART_Receive_DMA(&huart8, (uint8_t *)rxUART8, UWB_UART_LENGTH);
  }

//  else if (huart->Instance == UART4)
//  {
//	  HAL_UART_Receive_DMA(&huart4, (uint8_t *)rxUART4, DISPLAY_RX_LENGTH);
//  }
}
void HAL_UART_ErrorCallback(UART_HandleTypeDef *huart)
{
  /* Prevent unused argument(s) compilation warning */
  UNUSED(huart);
  uart_error++;
  if (huart->Instance == USART6)
  {
	  //HAL_UART_DMAStop()
	  HAL_UART_AbortReceive(&huart6);
	  HAL_UART_Receive_DMA(&huart6, (uint8_t *)rxUART6, sbus_receive_length);
  }
  else if (huart->Instance == UART7)
	{
		HAL_UART_AbortReceive(&huart7);
		HAL_UART_Receive_DMA(&huart7, (uint8_t *)rxUART7, UWB_UART_LENGTH);
	}
  else if (huart->Instance == UART8)
  {
	  HAL_UART_AbortReceive(&huart8);
	  HAL_UART_Receive_DMA(&huart8, (uint8_t *)rxUART8, UWB_UART_LENGTH);
  }
//  else if (huart->Instance == UART4)
//  {
//	  HAL_UART_AbortReceive(&huart4);
//	  HAL_UART_Receive_DMA(&huart4, (uint8_t *)rxUART4, DISPLAY_RX_LENGTH);
//  }
  /* NOTE : This function should not be modified, when the callback is needed,
            the HAL_UART_ErrorCallback can be implemented in the user file.
   */
}
void usDelay(uint32_t uSec)
{
	if(uSec < 2) uSec = 2;
	usTIM->ARR = uSec - 1;
	usTIM->EGR = 1;
	usTIM->SR &= ~1;
	usTIM->CR1 |= 1;
	while((usTIM->SR&0x0001) != 1);
	usTIM->SR &= ~(0x0001);
}
void measure_ultrasonic()
{
	//Reset TRIG
	HAL_GPIO_WritePin(TRIG_GPIO_Port, TRIG_Pin, GPIO_PIN_RESET);
	usDelay(3);
	//10us impulse on TRIG
	HAL_GPIO_WritePin(TRIG_GPIO_Port, TRIG_Pin, GPIO_PIN_SET);
	usDelay(10);
	HAL_GPIO_WritePin(TRIG_GPIO_Port, TRIG_Pin, GPIO_PIN_RESET);
	HAL_TIM_IC_Start_IT(&htim9, TIM_CHANNEL_1);
	uint32_t startTick = HAL_GetTick();
	uint32_t tick_difference = HAL_GetTick() - startTick;
	while (tick_difference < ULTRASONIC_TIMEOUT_MS)
	{
		if (IC_flag == 1)
			break;
		else
			tick_difference = HAL_GetTick() - startTick;
	}
	HAL_TIM_IC_Stop_IT(&htim9, TIM_CHANNEL_1);
	if(IC_flag == 1 && IC_time2 > IC_time1 && tick_difference < ULTRASONIC_TIMEOUT_MS)
	{
		ultrasonic_distance_cm = (IC_time2 - IC_time1) * speed_of_sound;
	}
	if (ultrasonic_distance_cm > ULTRASONIC_MAX_DISTANCE_CM)
		ultrasonic_distance_cm = ULTRASONIC_MAX_DISTANCE_CM;
	else if (ultrasonic_distance_cm < ULTRASONIC_MIN_DISTANCE_CM)
		ultrasonic_distance_cm = ULTRASONIC_MIN_DISTANCE_CM;
	IC_flag = 0;
}
void read_sbus()
{
	uint8_t i = 0;
	if(rxUART6[0] == SBUS_START && rxUART6[24] == SBUS_END)
	{
		//failsafe
		rc_frame_lost = (rxUART6[i+23] & 0x04) >> 2;
		rc_failsafe = (rxUART6[i+23] & 0x08) >> 3;
		//16 channels, 11bit per channel
		rc_in_raw[0] = (rxUART6[i+1] | rxUART6[i+2] << 8) & 0x07ff;
		rc_in_raw[1] = (rxUART6[i+2] >> 3 | rxUART6[i+3] << 5) & 0x07ff;
		rc_in_raw[2] = (rxUART6[i+3] >> 6 | rxUART6[i+4] << 2 | rxUART6[i+5] << 10) & 0x07ff;
		rc_in_raw[3] = (rxUART6[i+5] >> 1 | rxUART6[i+6] << 7) & 0x07ff;
		rc_in_raw[4] = (rxUART6[i+6] >> 4 | rxUART6[i+7] << 4) & 0x07ff;
		rc_in_raw[5] = (rxUART6[i+7] >> 7 | rxUART6[i+8] << 1 | rxUART6[i+9] << 9) & 0x07ff;
		rc_in_raw[6] = (rxUART6[i+9] >> 2 | rxUART6[i+10] << 6) & 0x07ff;
		rc_in_raw[7] = (rxUART6[i+10] >> 5 | rxUART6[i+11] << 3) & 0x07ff;
		rc_in_raw[8] = (rxUART6[i+12] | rxUART6[i+13] << 8) & 0x07ff;
		rc_in_raw[9] = (rxUART6[i+13] >> 3 | rxUART6[i+14] << 5) & 0x07ff;
		rc_in_raw[10] = (rxUART6[i+14] >> 6 | rxUART6[i+15] << 2 | rxUART6[i+16] << 10) & 0x07ff;
		rc_in_raw[11] = (rxUART6[i+16] >> 1 | rxUART6[i+17] << 7) & 0x07ff;
		rc_in_raw[12] = (rxUART6[i+17] >> 4 | rxUART6[i+18] << 4) & 0x07ff;
		rc_in_raw[13] = (rxUART6[i+18] >> 7 | rxUART6[i+19] << 1 | rxUART6[i+20] << 9) & 0x07ff;
		rc_in_raw[14] = (rxUART6[i+20] >> 2 | rxUART6[i+21] << 6) & 0x07ff;
		rc_in_raw[15] = (rxUART6[i+21] >> 5 | rxUART6[i+22] << 3) & 0x07ff;
		for(uint8_t i = 0; i < SBUS_CHANNELS; i++)
		{
			rc_in[i] = (5 * rc_in_raw[i] / 8) + 880;//int to float
		}
		rc_bad_frame = 0;
		if(last_state_rcin6 <= 1900 && rc_in[6] > 1900)
			begin_tracking = 1;
		last_state_rcin6 = rc_in[6];
	}
	else
	{
		rc_bad_frame = 1;
		HAL_UART_AbortReceive(&huart6);
		HAL_UART_Receive_DMA(&huart6, (uint8_t *)rxUART6, sbus_receive_length);
	}
}
void write_sbus()
{
	//float to int
	for(uint8_t i = 0; i < SBUS_CHANNELS; i++)
	{
		//rc_in[i] = (5 * rc_in_raw[i] / 8) + 880;
		rc_out_raw[i] = (rc_out[i] - 880) * 8 / 5;
		if (rc_out_raw[i] < SBUS_CHANNEL_MIN)
			rc_out_raw[i] = SBUS_CHANNEL_MIN;
		if (rc_out_raw[i] > SBUS_CHANNEL_MAX)
			rc_out_raw[i] = SBUS_CHANNEL_MAX;
	}

	txUART5[0] = SBUS_START;
	//16 channels, 11bit per channel
	txUART5[1] = ((rc_out_raw[0] & 0x07ff));
	txUART5[2] = ((rc_out_raw[0] & 0x07ff) >> 8 | (rc_out_raw[1] & 0x07ff) << 3);
	txUART5[3] = ((rc_out_raw[1] & 0x07ff) >> 5 | (rc_out_raw[2] & 0x07ff) << 6);
	txUART5[4] = ((rc_out_raw[2] & 0x07ff) >> 2);
	txUART5[5] = ((rc_out_raw[2] & 0x07ff) >> 10 | (rc_out_raw[3] & 0x07ff) << 1);
	txUART5[6] = ((rc_out_raw[3] & 0x07ff) >> 7 | (rc_out_raw[4] & 0x07ff) << 4);
	txUART5[7] = ((rc_out_raw[4] & 0x07ff) >> 4 | (rc_out_raw[5] & 0x07ff) << 7);
	txUART5[8] = ((rc_out_raw[5] & 0x07ff) >> 1);
	txUART5[9] = ((rc_out_raw[5] & 0x07ff) >> 9 | (rc_out_raw[6] & 0x07ff) << 2);
	txUART5[10] = ((rc_out_raw[6] & 0x07ff) >> 6 | (rc_out_raw[7] & 0x07ff) << 5);
	txUART5[11] = ((rc_out_raw[7] & 0x07ff) >> 3);
	txUART5[12] = ((rc_out_raw[8] & 0x07ff));
	txUART5[13] = ((rc_out_raw[8] & 0x07ff) >> 8 | (rc_out_raw[9] & 0x07ff) << 3);
	txUART5[14] = ((rc_out_raw[9] & 0x07ff) >> 5 | (rc_out_raw[10] & 0x07ff) << 6);
	txUART5[15] = ((rc_out_raw[10] & 0x07ff) >> 2);
	txUART5[16] = ((rc_out_raw[10] & 0x07ff) >> 10 | (rc_out_raw[11] & 0x07ff) << 1);
	txUART5[17] = ((rc_out_raw[11] & 0x07ff) >> 7 | (rc_out_raw[12] & 0x07ff) << 4);
	txUART5[18] = ((rc_out_raw[12] & 0x07ff) >> 4 | (rc_out_raw[13] & 0x07ff) << 7);
	txUART5[19] = ((rc_out_raw[13] & 0x07ff) >> 1);
	txUART5[20] = ((rc_out_raw[13] & 0x07ff) >> 9 | (rc_out_raw[14] & 0x07ff) << 2);
	txUART5[21] = ((rc_out_raw[14] & 0x07ff) >> 6 | (rc_out_raw[15] & 0x07ff) << 5);
	txUART5[22] = ((rc_out_raw[15] & 0x07ff) >> 3);
	txUART5[23] = ((rc_failsafe & 0x01) << 3) | ((rc_frame_lost & 0x01) << 2);
	txUART5[24] = SBUS_END;
}
void sbus_passthrough()
{
	if (object_tracking == 1)
	{
//		rc_out[0] = rc_in[0];//thr
		rc_out[0] = control_thr;//thr
		rc_out[1] = rc_in[1];//roll
//		rc_out[2] = rc_in[2];//pitch
		if(target_locked==1)
			rc_out[2] = control_pitch;
		else
			rc_out[2] = rc_in[2];//pitch
//		rc_out[3] = rc_in[3];//yaw
		rc_out[3] = control_yaw;//yaw
		rc_out[4] = rc_in[4];
		rc_out[5] = rc_in[5];
		rc_out[6] = rc_in[6];
		rc_out[7] = rc_in[7];
		rc_out[8] = rc_in[8];
		rc_out[9] = rc_in[9];
		rc_out[10] = rc_in[10];
		rc_out[11] = rc_in[11];
		rc_out[12] = rc_in[12];
		rc_out[13] = rc_in[13];
		rc_out[14] = rc_in[14];
		rc_out[15] = rc_in[15];
	}
	else
	{
		for (uint8_t i = 0; i < SBUS_CHANNELS; i++)
		{
			rc_out[i] = rc_in[i];
		}
	}
	for(uint8_t i = 0; i < SBUS_CHANNELS; i++)
	{
		if (rc_out_raw[i] < RC_MIN)
			rc_out_raw[i] = RC_MIN;
		if (rc_out_raw[i] > RC_MAX)
			rc_out_raw[i] = RC_MAX;
	}
}
void init_variables()
{
	pid_altitude.plusminus=1;
	pid_altitude.Kp = P_altitude;
	pid_altitude.Ki = I_altitude;
	pid_altitude.Kd = D_altitude;
	pid_altitude.T = 0.1;
	pid_altitude.tau = D_FILTER_TIME_CONSTANT;
	pid_altitude.lim_min = PID_MIN_ALT;
	pid_altitude.lim_max = PID_MAX_ALT;
	pid_altitude.lim_min_int = PID_MIN_ALT_I;
	pid_altitude.lim_max_int = PID_MAX_ALT_I;

	pid_angle.plusminus=-1;
	pid_angle.Kp = P_angle;
	pid_angle.Ki = I_angle;
	pid_angle.Kd = D_angle;
	pid_angle.T = 0.1;
	pid_angle.tau = D_FILTER_TIME_CONSTANT;
	pid_angle.lim_min = PID_MIN;
	pid_angle.lim_max = PID_MAX;
	pid_angle.lim_min_int = PID_MIN;
	pid_angle.lim_max_int = PID_MAX;

	pid_distance.plusminus=-1;
	pid_distance.Kp = P_distance;
	pid_distance.Ki = I_distance;
	pid_distance.Kd = D_distance;
	pid_distance.T = 0.1;
	pid_distance.lim_min = PID_MIN;
	pid_distance.lim_max = PID_MAX;
	pid_distance.lim_min_int = PID_MIN;
	pid_distance.lim_max_int = PID_MAX;

	f_uwb1_cm.filter_size = UWB_FILTER_SIZE;
//	f_uwb1_cm.moving_sum = 0.0f;

	f_uwb2_cm.filter_size = UWB_FILTER_SIZE;
//	f_uwb2_cm.moving_sum = 0.0f;

	f_usonic_cm.filter_size = USONIC_FILTER_SIZE;
//	f_usonic_cm.moving_sum = 0.0f;

	f_trig_angle_deg.filter_size = TRIG_ANGLE_FILTER_SIZE;
//	f_trig_angle_deg.filter_size = 3;
//	f_trig_angle_deg.moving_sum = 0.0f;
//	f_trig_angle_deg.buf_size = 0;
//	f_trig_angle_deg.window_index = 0;

	f_trig_distance_cm.filter_size = TRIG_DISTANCE_FILTER_SIZE;
//	f_trig_distance_cm.moving_sum = 0.0f;
//	f_trig_distance_cm.buf_size = 0;
//	f_trig_distance_cm.window_index = 0;
//	for(uint8_t i=0;i<MAX_FILTER_SIZE;i++)
//	{
//		f_trig_angle_deg.buf[i]=0;
//		f_trig_distance_cm.buf[i]=0;
//	}

	//	float value;
	//	float moving_sum;
	//	uint8_t window_index;
	//	float buf[MAX_FILTER_SIZE];
	//	uint8_t buf_size;
	//	uint8_t filter_size;
}
void moving_average_update_float(float input, struct f_float *s)
{
	s->moving_sum = s->moving_sum - s->buf[s->window_index] + input;
	s->buf[s->window_index] = input;
	s->window_index++;
	if (s->window_index > s->filter_size - 1)
	{
		s->window_index = 0;
		s->buf_size = s->filter_size;
	}
	if (s->buf_size == s->filter_size)
	{
		s->value = s->moving_sum / s->filter_size;
	}
}
void update_trig(float B, float A)
{
	//             degC
	//            * *  *
	//          *    *  *
	//        *      *   *
	//     rx1(B)     *    rx2(A)
	//     *          *      *
	//   *             *       *
	//  *              *degA1    *
	//degA*****rx12(C)*****rx12/2**degB
	if (B > A + UWB_RX_TO_RX_DISTANCE_CM)
	{
		trig_rho_est_cm = (A+B)/2;
		trig_theta_est_deg = -90;
	}
	else if (A > B + UWB_RX_TO_RX_DISTANCE_CM)
	{
		trig_rho_est_cm = (A+B)/2;
		trig_theta_est_deg = 90;
	}
	else
	{
		float C = UWB_RX_TO_RX_DISTANCE_CM;
		float C_div_2 = UWB_RX_TO_RX_DISTANCE_CM/2;
		float C_div_2_pow_2 = pow(C_div_2,2);
		float A_pow_2 = pow(A,2);
		float radA1 = acos((A_pow_2+pow(C,2)-pow(B,2))/(2*A*C));
		trig_rho_est_cm = sqrt(A_pow_2+C_div_2_pow_2-2*A*C_div_2*cos(radA1));
		trig_theta_est_deg = conv_to_deg*acos((pow(trig_rho_est_cm,2)+C_div_2_pow_2-A_pow_2)/(2*trig_rho_est_cm*C_div_2))-90;
	}
}
void init_log_microsd()
{
	//memset(microsd_buf,0,MICROSD_BUFFER_SIZE);
	//sdcard buffer up to 128 bytes. After 120 bytes wait at least 44ms
	microsd_buf[0]=0x0d;
	microsd_buf[1]=0x0a;
	HAL_UART_Transmit(&huart3, (uint8_t *)microsd_buf, 2, 10);
	//HAL_Delay(100);//wait for card
	snprintf(microsd_buf, MICROSD_BUFFER_SIZE, "%s\r\n", "New log begin");
	HAL_UART_Transmit(&huart3, (uint8_t *)microsd_buf, 14, 10);
	HAL_Delay(100);//wait for card
	snprintf(microsd_buf, MICROSD_BUFFER_SIZE, "%s\r\n", "P_angle;I_angle;D_angle;"
			"P_distance;I_distance;D_distance;P_altitude;I_altitude;D_altitude");
	HAL_UART_Transmit(&huart3, (uint8_t *)microsd_buf, 91, 10);
	HAL_Delay(100);//wait for card
	snprintf(microsd_buf, MICROSD_BUFFER_SIZE, "%1.4f;%1.4f;%1.4f;%1.4f;%1.4f;%1.4f;%1.4f;%1.4f;%1.4f;\r\n",
			pid_angle.Kp,pid_angle.Ki,pid_angle.
			Kd,pid_distance.Kp,pid_distance.Ki,pid_distance.Kd,
			pid_altitude.Kp,pid_altitude.Ki,pid_altitude.Kd);
	HAL_UART_Transmit(&huart3, (uint8_t *)microsd_buf, 65, 10);
	HAL_Delay(100);//wait for card
//	snprintf(microsd_buf, MICROSD_BUFFER_SIZE, "%s\r\n", "uwb1;uwb2;usnic;"
//			"angle;dist;"
//			"angleErr;distErr;altErr;"
//			"anglePidsum;distPidsum;altPidsum;"
//			"altPsum,altIsum,altDsum"
//			"trck;tme;pktLss1;pktLss2");
//	snprintf(microsd_buf, MICROSD_BUFFER_SIZE, "%s\r\n", "uwb1;uwb2;usnic;"
//			"angle;dist;"
//			"angleErr;distErr;altErr;"
//			"anglePidsum;distPidsum;altPidsum;"
//			"anglePsum,angleIsum,angleDsum"
//			"trck;tme;pktLss1;pktLss2");
	snprintf(microsd_buf, MICROSD_BUFFER_SIZE, "%s\r\n", "uwb1;uwb2;usnic;"
				"angle;dist;"
				"angleErr;distErr;altErr;"
				"anglePidsum;distPidsum;altPidsum;"
				"distPsum,distIsum,distDsum"
				"trck;tme;pktLss1;pktLss2;trg_l");
	HAL_UART_Transmit(&huart3, (uint8_t *)microsd_buf, 110, 10);
}
void update_log_microsd()
{
	memset(microsd_buf,0,MICROSD_BUFFER_SIZE);
	snprintf(microsd_buf, MICROSD_BUFFER_SIZE, "%4.1f;%4.1f;%3.1f;"
					"%3.1f;%4.1f;"
					"%3.1f;%4.1f;%3.1f;"
					"%3.1f;%3.1f;%3.1f;"
					"%3.1f;%3.1f;%3.1f;"
					"%d;%d;%d;%d;%d\r\n",f_uwb1_cm.value,f_uwb2_cm.value,f_usonic_cm.value,
					f_trig_angle_deg.value,f_trig_distance_cm.value,
					pid_angle.error,pid_distance.error,pid_altitude.error,
					pid_angle.pidsum,pid_distance.pidsum,pid_altitude.pidsum,
					pid_distance.psum,pid_distance.isum,pid_distance.dsum,
					object_tracking,time_10hz,dwm_loc_get1.packet_loss[0],dwm_loc_get2.packet_loss[0],target_locked
					);
//	snprintf(microsd_buf, MICROSD_BUFFER_SIZE, "%4.2f;%4.2f;%3.2f;"
//				"%3.2f;%4.2f;"
//				"%3.2f;%4.2f;%3.2f;"
//				"%3.2f;%3.2f;%3.2f;"
//				"%d;%d;%d;%d\r\n",f_uwb1_cm.value,f_uwb2_cm.value,f_usonic_cm.value,
//				f_trig_angle_deg.value,f_trig_distance_cm.value,
//				pid_angle.error,pid_distance.error,pid_altitude.error,
//				pid_angle.pidsum,pid_distance.pidsum,pid_altitude.pidsum,
//				object_tracking,time_10hz,dwm_loc_get1.packet_loss[0],dwm_loc_get2.packet_loss[0]
//				);
//	snprintf(microsd_buf, MICROSD_BUFFER_SIZE,
//			"0:%4.2f;00:%4.2f;"
//			"1:%3.2f;2:%4.2f;"
//			"3:%3.2f;4:%4.2f;"
//			"5:%d;6:%d;"
//			"7:%6.2f;8:%d;"
//			"9:%3.2f;10:%3.2f;11:%3.2f;\r\n",
//			f_uwb1_cm.value,f_uwb2_cm.value,
//			f_trig_angle_deg.value,f_trig_distance_cm.value,
//			trig_theta_est_deg, trig_rho_est_cm,
//			f_trig_angle_deg.buf_size,f_trig_angle_deg.filter_size,
//			f_trig_angle_deg.moving_sum,f_trig_angle_deg.window_index,
//			f_trig_angle_deg.buf[0],f_trig_angle_deg.buf[1],f_trig_angle_deg.buf[2]
//			);
	for(uint16_t i=0;i<=MICROSD_BUFFER_SIZE-1;i++)
	{
		if(microsd_buf[i] == 0x0A)//ascii \n
		{
			microsd_buf_size = i+1;
			break;
		}
	}
	HAL_UART_Transmit(&huart3, (uint8_t *)microsd_buf, microsd_buf_size, 10);
}
void write_periodic_LCD()
{
	txUART4[0] = DISPLAY_START_PERIODIC;
	uint8_t angle_plus_90=roundf(f_trig_angle_deg.value+90);
//	uint8_t angle_plus_90=roundf(trig_theta_est_deg+90);
	txUART4[1] = (uint8_t)angle_plus_90;
	uint16_t distance = f_trig_distance_cm.value;//conversion from float
	txUART4[2] = distance >> 8;
	txUART4[3] = distance & 0x00FF;
	uint16_t altitude = f_usonic_cm.value;//conversion from float
	txUART4[4] = altitude >> 8;
	txUART4[5] = altitude & 0x00FF;
	uint16_t uwb1 = f_uwb1_cm.value;//conversion from float
	uint16_t uwb2 = f_uwb2_cm.value;//conversion from float
	txUART4[6] = uwb1 >> 8;
	txUART4[7] = uwb1 & 0x00FF;
	txUART4[8] = uwb2 >> 8;
	txUART4[9] = uwb2 & 0x00FF;
	txUART4[10] = 0xFF;//termination byte1
	txUART4[11] = 0xFF;//termination byte2
	txUART4[12] = 0xFF;//termination byte3
}
float constrain_f(float input, float min, float max)
{
	float output;
	if(input > max)
	{
		output = max;
	}
	else if (input < min)
	{
		output = min;
	}
	return output;
}
void init_PID(struct pid *s)
{
	s->isum = 0.0f;
	s->last_error  = 0.0f;
	s->dsum  = 0.0f;
	s->last_meas = 0.0f;
	s->pidsum = 0.0f;
}
void calculate_PID(float measurement, float setpoint, struct pid *s)
{
    //float error = setpoint - measurement;
	s->error = setpoint - measurement;
    s->psum = s->Kp * s->error;
    s->isum = s->isum + 0.5f * s->Ki * s->T * (s->error + s->last_error);
    if (s->isum > s->lim_max_int)
    {
        s->isum = s->lim_max_int;
    }
    else if (s->isum < s->lim_min_int)
    {
        s->isum = s->lim_min_int;
    }
    s->dsum = -(2.0f*s->Kd*(measurement-s->last_meas)+(2.0f*s->tau-s->T)*s->dsum)/(2.0f*s->tau+s->T);
    s->pidsum = s->psum + s->isum + s->dsum;
    if (s->pidsum > s->lim_max)
    {
        s->pidsum = s->lim_max;
    }
    else if (s->pidsum < s->lim_min)
    {
        s->pidsum = s->lim_min;
    }
    s->last_error = s->error;
    s->last_meas = measurement;
}
void parse_uwb_uart(struct loc *loc, uint8_t bfr[])
{
	if (bfr[0]==0x44 && bfr[10]==0x0D && bfr[11]==0x0A && bfr[9]==0x41)
	{
		uint8_t tmp[8];
		for(uint8_t i=0;i<=7;i++)
		{
		  tmp[i]=bfr[i+1];
		}
		sscanf(tmp,"%08lx",&loc->distance_to_anchor[0]);
			loc->distance_to_anchor_cm[0] = (float)loc->distance_to_anchor[0]/10;
			loc->uwb_ok[0] = 1;
			if(loc->packet_sum[0] < UWB_PACKET_BUFFER_SIZE)
				loc->packet_sum[0]++;

		loc->packet_loss[0] = 100-loc->packet_sum[0]*100/UWB_PACKET_BUFFER_SIZE;
	}
	else
	{
		loc->uwb_ok[0] = 0;
		if(loc->packet_sum[0] > 0)
			loc->packet_sum[0]--;

	}
}
/* USER CODE END 4 */

void Error_Handler(void)
{
  __disable_irq();
  while (1)
  {
  }
}

/************************ (C) COPYRIGHT STMicroelectronics *****END OF FILE****/
